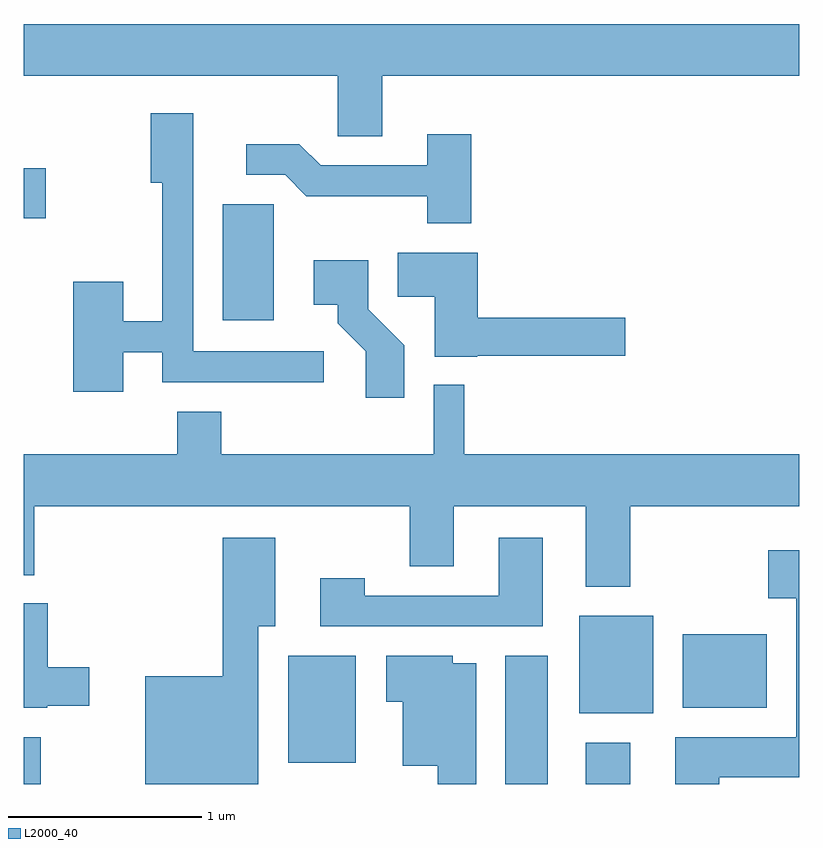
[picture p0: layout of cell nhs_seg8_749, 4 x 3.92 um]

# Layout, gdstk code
import gdstk
lib = gdstk.Library(unit=1e-6, precision=1e-09)
def R(c, l, rs):  # rectangles x0, y0, x1, y1
    for r in rs: c.add(gdstk.rectangle(r[:2], r[2:], *l))
def P(c, l, *ps):  # polygons
    for p in ps: c.add(gdstk.Polygon(p, *l))
L2000_40 = (2000, 40)

nhs_seg8_749 = lib.new_cell('nhs_seg8_749')
R(nhs_seg8_749, L2000_40, [(207.611,1808.342,207.699,1808.584), (210.096,1808.342,210.314,1809.004), (210.511,1808.342,210.739,1808.554), (208.976,1808.451,209.324,1809.004), (210.476,1808.706,210.859,1809.209), (211.011,1808.736,211.444,1809.114), (208.636,1810.736,208.899,1811.334), (207.611,1811.261,207.724,1811.519)])
P(nhs_seg8_749, L2000_40, [(209.459,1811.996),(211.611,1811.996),(211.611,1812.264),(207.611,1812.264),(207.611,1811.996),(209.231,1811.996),(209.231,1811.686),(209.459,1811.686)],
  [(208.124,1810.571),(208.326,1810.571),(208.326,1810.416),(209.158,1810.416),(209.158,1810.574),(208.484,1810.574),(208.484,1811.804),(208.266,1811.804),(208.266,1811.446),(208.326,1811.446),(208.326,1810.729),(208.124,1810.729),(208.124,1810.934),(207.866,1810.934),(207.866,1810.366),(208.124,1810.366)],
  [(209.919,1811.694),(209.691,1811.694),(209.691,1811.534),(209.142,1811.534),(209.032,1811.644),(208.758,1811.644),(208.758,1811.486),(208.959,1811.486),(209.069,1811.376),(209.691,1811.376),(209.691,1811.236),(209.919,1811.236)],
  [(209.95,1810.551),(210.714,1810.551),(210.714,1810.749),(209.954,1810.749),(209.954,1811.084),(209.541,1811.084),(209.541,1810.856),(209.731,1810.856),(209.731,1810.546),(209.95,1810.546)],
  [(209.574,1810.607),(209.389,1810.792),(209.389,1811.044),(209.106,1811.044),(209.106,1810.816),(209.231,1810.816),(209.231,1810.719),(209.376,1810.574),(209.376,1810.336),(209.574,1810.336)],
  [(210.739,1809.776),(211.611,1809.776),(211.611,1810.044),(209.884,1810.044),(209.884,1810.403),(209.726,1810.403),(209.726,1810.044),(208.629,1810.044),(208.629,1810.264),(208.401,1810.264),(208.401,1810.044),(207.611,1810.044),(207.611,1809.418),(207.664,1809.418),(207.664,1809.776),(209.601,1809.776),(209.601,1809.466),(209.829,1809.466),(209.829,1809.776),(210.511,1809.776),(210.511,1809.361),(210.739,1809.361)],
  [(210.289,1809.614),(210.061,1809.614),(210.061,1809.314),(209.369,1809.314),(209.369,1809.404),(209.141,1809.404),(209.141,1809.156),(210.289,1809.156)],
  [(208.819,1809.156),(208.909,1809.156),(208.909,1809.614),(208.636,1809.614),(208.636,1808.899),(208.236,1808.899),(208.236,1808.342),(208.819,1808.342)],
  [(211.199,1808.376),(211.611,1808.376),(211.611,1809.549),(211.451,1809.549),(211.451,1809.301),(211.596,1809.301),(211.596,1808.584),(210.971,1808.584),(210.971,1808.342),(211.199,1808.342)],
  [(207.73,1808.746),(207.949,1808.746),(207.949,1808.944),(207.734,1808.944),(207.734,1809.274),(207.611,1809.274),(207.611,1808.736),(207.73,1808.736)],
  [(209.944,1808.964),(209.824,1808.964),(209.824,1809.004),(209.481,1809.004),(209.481,1808.766),(209.566,1808.766),(209.566,1808.436),(209.746,1808.436),(209.746,1808.342),(209.944,1808.342)])

lib.write_gds('nhs_seg8_749.gds')
